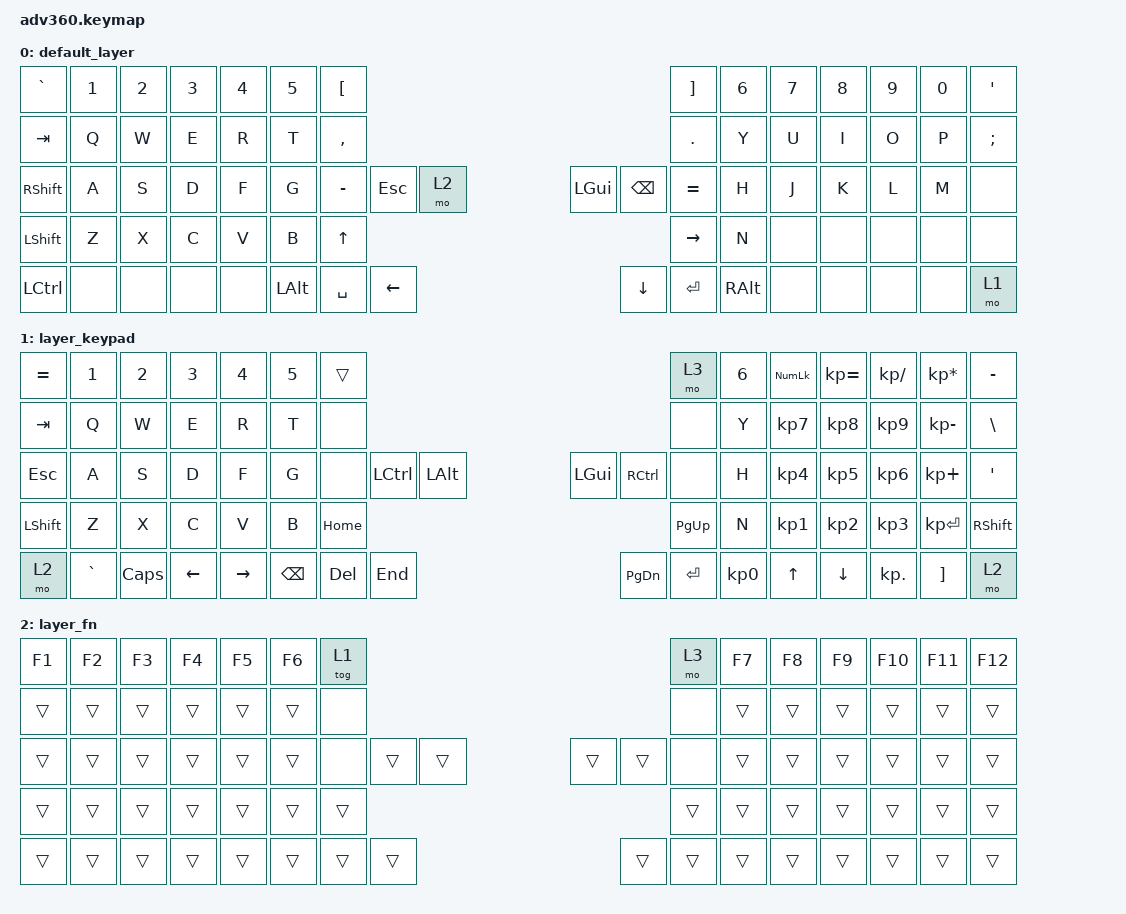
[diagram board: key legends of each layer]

/*
 * Copyright (c) 2020 The ZMK Contributors
 *
 * SPDX-License-Identifier: MIT
 */


/* THIS FILE WAS GENERATED!
 *
 * This file was generated automatically. You may or may not want to
 * edit it directly.
 */

#include <behaviors.dtsi>
#include <dt-bindings/zmk/keys.h>

/ {
  behaviors {
    #include "macros.dtsi"
    #include "version.dtsi"

    hm: homerow_mods {
        compatible = "zmk,behavior-hold-tap";
        label = "HOMEROW_MODS";
        #binding-cells = <2>;
        tapping-term-ms = <200>;
        quick_tap_ms = <175>;
        flavor = "tap-preferred";
        bindings = <&kp>, <&kp>;
    };
  };

    keymap {
        compatible = "zmk,keymap";


        default_layer {
            bindings = <
  &kp GRAVE  &kp N1  &kp N2  &kp N3  &kp N4  &kp N5            &kp LEFT_BRACKET                                                                 &kp RIGHT_BRACKET  &kp N6  &kp N7  &kp N8  &kp N9  &kp N0  &kp APOS
    &kp TAB   &kp Q   &kp W   &kp E   &kp R   &kp T                   &kp COMMA                                                                        &kp PERIOD   &kp Y   &kp U   &kp I   &kp O   &kp P  &kp SEMI
 &kp RSHIFT   &kp A   &kp S   &kp D   &kp F   &kp G                   &kp MINUS    &kp ESC     &mo 2                   &kp LGUI  &kp BACKSPACE          &kp EQUAL   &kp H   &kp J   &kp K   &kp L   &kp M     &none
  &kp LSHFT   &kp Z   &kp X   &kp C   &kp V   &kp B                                           &kp UP                  &kp RIGHT                                     &kp N   &none   &none   &none   &none     &none
  &kp LCTRL   &none   &none   &none   &none                        &kp LEFT_ALT  &kp SPACE  &kp LEFT                   &kp DOWN      &kp ENTER      &kp RIGHT_ALT           &none   &none   &none   &none     &mo 1
            >;
        };

        layer_keypad {
            bindings = <
 &kp EQUAL     &kp N1    &kp N2    &kp N3     &kp N4  &kp N5              &trans                                                                 &mo 3  &kp N6  &kp KP_NUM  &kp KP_EQUAL  &kp KP_DIVIDE  &kp KP_MULTIPLY  &kp MINUS
   &kp TAB      &kp Q     &kp W     &kp E      &kp R   &kp T               &none                                                                 &none   &kp Y   &kp KP_N7     &kp KP_N8      &kp KP_N9     &kp KP_MINUS   &kp BSLH
   &kp ESC      &kp A     &kp S     &kp D      &kp F   &kp G               &none  &kp LCTRL  &kp LALT                   &kp LGUI  &kp RCTRL      &none   &kp H   &kp KP_N4     &kp KP_N5      &kp KP_N6      &kp KP_PLUS    &kp SQT
 &kp LSHFT      &kp Z     &kp X     &kp C      &kp V   &kp B                                 &kp HOME                  &kp PG_UP                         &kp N   &kp KP_N1     &kp KP_N2      &kp KP_N3     &kp KP_ENTER  &kp RSHFT
     &mo 2  &kp GRAVE  &kp CAPS  &kp LEFT  &kp RIGHT                    &kp BSPC    &kp DEL   &kp END                  &kp PG_DN  &kp ENTER  &kp KP_N0              &kp UP      &kp DOWN     &kp KP_DOT         &kp RBKT      &mo 2
            >;
        };

        layer_fn {
            bindings = <
 &kp F1  &kp F2  &kp F3  &kp F4  &kp F5  &kp F6            &tog 1                                                   &mo 3  &kp F7  &kp F8  &kp F9  &kp F10  &kp F11  &kp F12
 &trans  &trans  &trans  &trans  &trans  &trans             &none                                                   &none  &trans  &trans  &trans   &trans   &trans   &trans
 &trans  &trans  &trans  &trans  &trans  &trans             &none  &trans  &trans                  &trans  &trans   &none  &trans  &trans  &trans   &trans   &trans   &trans
 &trans  &trans  &trans  &trans  &trans  &trans                            &trans                  &trans                  &trans  &trans  &trans   &trans   &trans   &trans
 &trans  &trans  &trans  &trans  &trans                    &trans  &trans  &trans                  &trans  &trans  &trans          &trans  &trans   &trans   &trans   &trans
            >;
        };

    };
};
